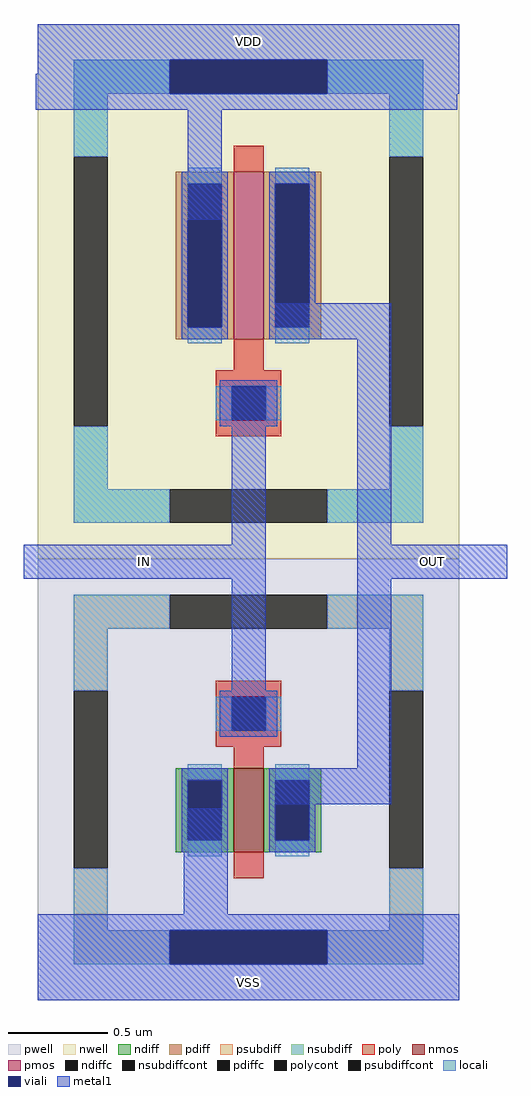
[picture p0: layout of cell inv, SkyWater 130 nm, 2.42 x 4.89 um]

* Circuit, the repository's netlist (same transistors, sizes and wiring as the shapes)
* SPICE3 file created from inv.ext - technology: sky130A

*.subckt inv IN OUT VDD VSS
X0 OUT IN VSS VSS sky130_fd_pr__nfet_01v8 ad=0.122 pd=1.42 as=0.122 ps=1.42 w=0.42 l=0.15
X1 OUT IN VDD VDD sky130_fd_pr__pfet_01v8 ad=0.244 pd=2.26 as=0.244 ps=2.26 w=0.84 l=0.15
*.ends

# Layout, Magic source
magic
tech sky130A
magscale 1 2
<< viali >>
rect 448 960 606 994
rect 448 88 606 122
<< metal1 >>
rect 316 994 738 1030
rect 316 980 448 994
rect 314 960 448 980
rect 606 960 738 994
rect 314 944 736 960
rect 466 834 500 944
rect 554 714 670 750
rect 510 508 544 666
rect 302 474 544 508
rect 510 322 544 474
rect 636 508 670 714
rect 636 474 786 508
rect 636 284 670 474
rect 548 248 670 284
rect 462 138 506 244
rect 316 122 738 138
rect 316 88 448 122
rect 606 88 738 122
rect 316 52 738 88
use sky130_fd_pr__nfet_01v8_L78EGD  XM1
transform 1 0 527 0 1 273
box -211 -221 211 221
use sky130_fd_pr__pfet_01v8_2MG8BZ  XM2
transform 1 0 527 0 1 762
box -211 -268 211 268
<< labels >>
flabel metal1 302 474 544 508 0 FreeSans 160 0 0 0 IN
port 0 nsew
flabel metal1 636 474 786 508 0 FreeSans 160 0 0 0 OUT
port 1 nsew
flabel metal1 316 994 738 1030 0 FreeSans 160 0 0 0 VDD
port 2 nsew
flabel metal1 316 52 738 88 0 FreeSans 160 0 0 0 VSS
port 4 nsew
<< end >>

# cell sky130_fd_pr__nfet_01v8_L78EGD: kit device sky130_fd_pr__nfet_01v8, w 0.42 l 0.15 m 1 nf 1 diffcov 100 polycov 100 guard 1 glc 1 grc 1 gtc 1 gbc 1 tbcov 100 rlcov 100 topc 1 botc 0 poverlap 0 doverlap 1 lmin 0.15 wmin 0.42 compatible {sky130_fd_pr__nfet_01v8 sky130_fd_pr__nfet_01v8_lvt sky130_fd_bs_flash__special_sonosfet_star sky130_fd_pr__nfet_g5v0d10v5 sky130_fd_pr__nfet_05v0_nvt sky130_fd_pr__nfet_03v3_nvt} full_metal 1 viasrc 100 viadrn 100 viagate 100 viagb 0 viagr 0 viagl 0 viagt 0

# cell sky130_fd_pr__pfet_01v8_2MG8BZ: kit device sky130_fd_pr__pfet_01v8, w 0.84 l 0.15 m 1 nf 1 diffcov 100 polycov 100 guard 1 glc 1 grc 1 gtc 1 gbc 1 tbcov 100 rlcov 100 topc 0 botc 1 poverlap 0 doverlap 1 lmin 0.15 wmin 0.42 compatible {sky130_fd_pr__pfet_01v8 sky130_fd_pr__pfet_01v8_lvt sky130_fd_pr__pfet_01v8_hvt sky130_fd_pr__pfet_g5v0d10v5} full_metal 1 viasrc 100 viadrn 100 viagate 100 viagb 0 viagr 0 viagl 0 viagt 0
